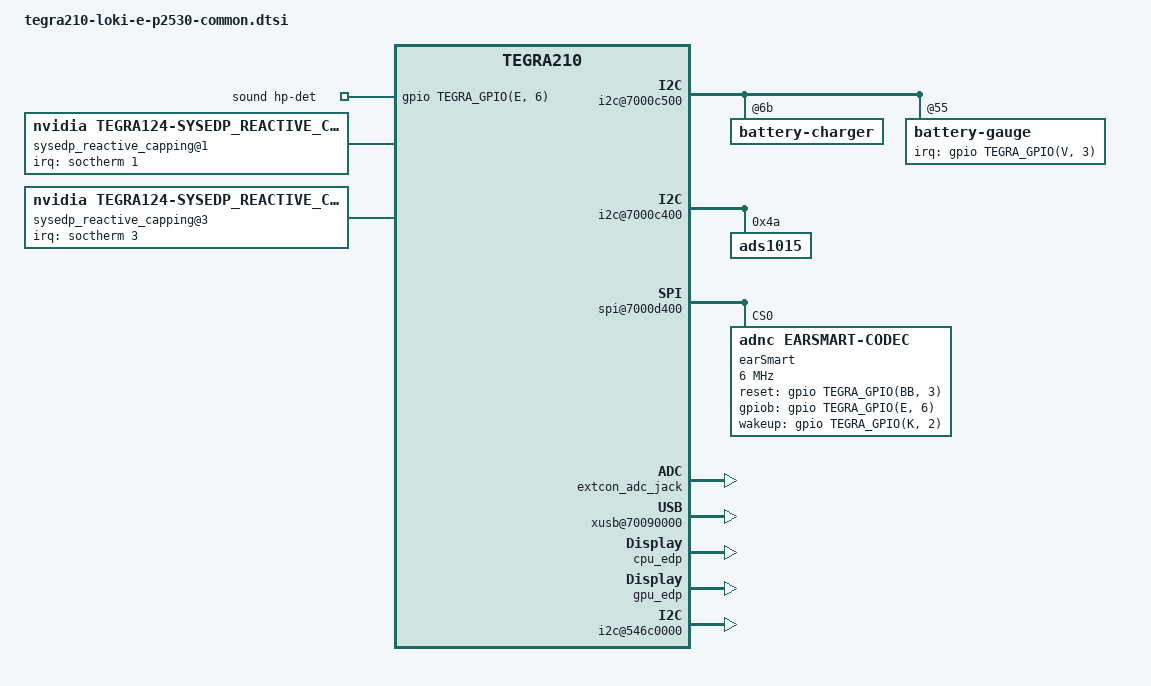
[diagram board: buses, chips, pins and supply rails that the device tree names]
/*
 * arch/arm64/boot/dts/tegra210-loki-e-p2530-common.dtsi
 *
 * Copyright (c) 2015-2016, NVIDIA CORPORATION.  All rights reserved.
 *
 * This program is free software; you can redistribute it and/or modify
 * it under the terms of the GNU General Public License as published by
 * the Free Software Foundation; version 2 of the License.
 *
 * This program is distributed in the hope that it will be useful, but WITHOUT
 * ANY WARRANTY; without even the implied warranty of MERCHANTABILITY or
 * FITNESS FOR A PARTICULAR PURPOSE.  See the GNU General Public License for
 * more details.
 *
 * You should have received a copy of the GNU General Public License along
 * with this program; if not, write to the Free Software Foundation, Inc.,
 * 51 Franklin Street, Fifth Floor, Boston, MA  02110-1301, USA.
 *
 */
#include <dt-bindings/types.h>
/dts-v1/;

/memreserve/ 0x80000000 0x00020000;

#include "tegra210-common.dtsi"
#include "tegra210-platforms/tegra210-sdhci.dtsi"
#include "tegra210-platforms/tegra210-p2530-common.dtsi"
#include "tegra210-platforms/tegra210-loki-e-prods.dtsi"
#include "tegra210-platforms/tegra210-loki-power-tree-p2530-0999-e00.dtsi"
#include "tegra210-platforms/tegra210-loki-e-gpio-p2530-0032-e00.dtsi"
#include "tegra210-platforms/tegra210-pinmux-drive-sdmmc-common.dtsi"
#include "tegra210-platforms/tegra210-loki-e-pinmux-p2530-0032-e00.dtsi"
#include "tegra210-platforms/tegra210-loki-e-comms.dtsi"
#include "tegra210-platforms/tegra210-loki-e-pwm-fan.dtsi"
#include "tegra210-platforms/tegra210-ers-hdmi-e2190-1100-a00.dtsi"
#include "tegra210-platforms/tegra210-ers-touch-e1937-1000-a00.dtsi"
#include "tegra210-platforms/tegra210-loki-e-sensor-p2530-0032-e00.dtsi"
#include "tegra210-platforms/tegra210-loki-e-thermal-fan-est.dtsi"
#include "tegra210-platforms/tegra210-loki-e-camera-p2530-0032-e00.dtsi"
#include "tegra210-platforms/tegra210-loki-e-keys-p2530-0032-e00.dtsi"
#include "tegra210-platforms/tegra210-loki-maxim-charger.dtsi"
#include "tegra210-platforms/tegra210-loki-e-powermon.dtsi"
#include "tegra210-platforms/tegra210-edp.dtsi"
#include "tegra210-platforms/tegra210-sysedp.dtsi"
#include "tegra210-platforms/tegra210-audio.dtsi"
#include "tegra210-platforms/tegra210-loki-e-gamepad-reset.dtsi"
#include "tegra210-platforms/tegra210-loki-e-c2port.dtsi"
#include "tegra210-platforms/tegra210-loki-e-cpufreq.dtsi"

/ {
	compatible = "nvidia,loki-e", "nvidia,tegra210";
	nvidia,fastboot-usb-pid = <0xb420>;

	firmware {
		android {
			compatible = "android,firmware";
			hardware = "loki_e";
		};
	};

	pmc@7000e400 {
		io-pad-defaults {
			audio-hv {
				nvidia,io-pad-init-voltage = <IO_PAD_VOLTAGE_1_8V>;
			};

			spi-hv {
				nvidia,io-pad-init-voltage = <IO_PAD_VOLTAGE_1_8V>;
			};

			gpio {
				nvidia,io-pad-init-voltage = <IO_PAD_VOLTAGE_1_8V>;
			};

			sdmmc1 {
				nvidia,enable-dynamic-pad-voltage;
			};
			sdmmc3 {
				nvidia,enable-dynamic-pad-voltage;
			};
		};
	};

	i2c@7000c500 {
		battery-charger@6b {
			charger {
				dt-override-status-odm-data = <0x00C00000 0x00400000>;
				ti,watchdog-timeout = <160>;
			};
		};

		battery-gauge@55 {
			interrupt-parent = <&gpio>;
			interrupts = <TEGRA_GPIO(V, 3) 0x0>;
			dt-override-status-odm-data = <0x00C00000 0x00400000>;
			ti,full-charge-capacity = <6500>;
		};
	};

	i2c@7000c400 {
		ads1015: ads1015@4a {
			reg = <0x4a>;
			compatible = "ads1015";
			#io-channel-cells = <1>;
		};
	};

	spi@7000d400 {
		status = "okay";
		earSmart: earSmart-codec@0 {
			compatible = "adnc,earSmart-codec";
			reg = <0>;
			spi-max-frequency = <6000000>;
			spi-cpha;

			adnc,reset-gpio = <&gpio TEGRA_GPIO(BB, 3) GPIO_ACTIVE_HIGH>;
			adnc,gpiob-gpio = <&gpio TEGRA_GPIO(E, 6) GPIO_ACTIVE_HIGH>;
			adnc,wakeup-gpio = <&gpio TEGRA_GPIO(K, 2) GPIO_ACTIVE_HIGH>;

			adnc,int-gpio = <(-1)>;
			adnc,gpioa-gpio = <(-1)>;
			adnc,enable_hs_uart_intf = <0>;
			adnc,ext_clk_rate = <0>;
			adnc,debounce_timer = <3>;
			adnc,plug_det_enabled = <1>;
			adnc,mic_det_enabled = <1>;

			adnc,gpio_b_irq_type = <4>;
			adnc,cmd_comp_mode = <0>;

			/* Button Control 1 */
			adnc,btn_press_settling_time = <4>;
			adnc,btn_press_polling_rate = <1>;
			adnc,btn_press_det_act = <1>;

			/* Button Control 2 */
			adnc,double_btn_timer = <(-1)>;
			adnc,mic_det_settling_timer = <(-1)>;

			/* Button Control 3 */
			adnc,long_btn_timer = <(-1)>;
			adnc,adc_btn_mute = <(-1)>;

			/* Button Control 4 */
			adnc,valid_levels = <31>;
			adnc,impd_det_timer = <0>;

			/* FW name */
			adnc,fw_filename = "audience/es755/audience-es755-fw_loki.bin";
			adnc,vs_filename = "audience/es755/audience-es755-vs_loki.bin";
		};
	};

	ahub {
		i2s@702d1100 {
			pinctrl-names = "dap_active", "dap_inactive";
			pinctrl-0 = <>;
			pinctrl-1 = <>;
			regulator-supplies = "vdd-1v8-spi-hv", "vdd-1v8-spi-hv-bias";
			vdd-1v8-spi-hv-supply = <&max77620_sd3>;
			vdd-1v8-spi-hv-bias-supply = <&max77620_sd3>;
			fsync-width = <0>;
		};
	};

	sound {
		compatible = "nvidia,tegra-audio-t210ref-mobile-es755";
		nvidia,model = "tegra-snd-t210ref-mobile-es755";
		nvidia,hp-det-gpios = <&gpio TEGRA_GPIO(E, 6) GPIO_ACTIVE_HIGH>;
		nvidia,num-codec-link = <3>;
		edp-consumer-name = "codec+speaker";

		nvidia,audio-routing =
			"Int Spk",	"SPKRL",
			"Int Spk",	"SPKRR",
			"y Headphone", 	"y OUT",
			"y IN",		"y Mic",
			"z IN",         "z OUT",
			"k Headphone", 	"k OUT",
			"k IN",		"k Mic";

		nvidia,xbar = <&tegra_axbar>;

		nvidia,dai-link-1 {
			link-name = "earSmart-playback";
			cpu-dai = <&tegra_i2s1>;
			codec-dai = <&earSmart>;
			cpu-dai-name = "I2S1";
			codec-dai-name = "earSmart-porta";
			format = "i2s";
			bitclock-slave;
			frame-slave;
			bitclock-noninversion;
			frame-noninversion;
			bit-format = "s16_le";
			bclk_ratio = <0>;
			srate = <48000>;
			num-channel = <2>;
			name-prefix = "x";
		};
		nvidia,dai-link-2 {
			link-name = "spdif-dit-1";
			cpu-dai = <&tegra_i2s2>;
			codec-dai = <&spdif_dit1>;
			cpu-dai-name = "I2S2";
			codec-dai-name = "dit-hifi";
			format = "dsp_a";
			bitclock-slave;
			frame-slave;
			bitclock-inversion;
			frame-inversion;
			bit-format = "s16_le";
			bclk_ratio = <4>;
			srate = <8000>;
			num-channel = <1>;
			name-prefix = "y";
		};
		nvidia,dai-link-3 {
			link-name = "spdif-dit-2";
			cpu-dai = <&tegra_i2s3>;
			codec-dai = <&spdif_dit2>;
			cpu-dai-name = "I2S3";
			codec-dai-name = "dit-hifi";
			format = "i2s";
			bitclock-slave;
			frame-slave;
			bitclock-noninversion;
			frame-noninversion;
			bit-format = "s16_le";
			bclk_ratio = <0>;
			srate = <48000>;
			num-channel = <2>;
			name-prefix = "z";
		};
                nvidia,dai-link-4 {
                        link-name = "spdif-dit-3";
                        cpu-dai = <&tegra_i2s4>;
                        codec-dai = <&spdif_dit3>;
                        cpu-dai-name = "I2S4";
                        codec-dai-name = "dit-hifi";
                        format = "i2s";
                        bitclock-slave;
                        frame-slave;
                        bitclock-noninversion;
                        frame-noninversion;
                        bit-format = "s16_le";
                        bclk_ratio = <0>;
                        srate = <48000>;
                        num-channel = <2>;
                        name-prefix = "k";
                };
	};

	adsp_audio {
		compr-ops = <1>;
		num-plugin = <5>;
		plugin-info-1 {
			plugin-name = "mp3-dec1";
			firmware-name = "nvmp3dec.elf";
			widget-name = "MP3-DEC1";
		};
		plugin-info-2 {
			plugin-name = "spkprot";
			firmware-name = "nvspkprot.elf";
			widget-name = "SPKPROT-SW";
		};
		plugin-info-3 {
			plugin-name = "src";
			firmware-name = "nvsrc.elf";
			widget-name = "SRC";
		};
		plugin-info-4 {
			plugin-name = "aac-dec1";
			firmware-name = "nvaacdec.elf";
			widget-name = "AAC-DEC1";
		};
		plugin-info-5 {
			plugin-name = "aec";
			firmware-name = "libnvaecfx.elf";
			widget-name = "AEC";
			param-type = <2>; /* SNDRV_CTL_ELEM_TYPE_INTEGER */
		};
	};

	extcon {
		extcon@0 {
			status = "disabled";
		};

		extcon_adc_jack: extcon@1 {
			compatible = "extcon-adc-jack";
			reg = <0x1>;
			interrupt-parent = <&max77620>;
			interrupts = <0 0 3>;
			extcon-adc-jack,irq-flags = <3>;
			extcon-adc-jack,cable-names = "ID-GND", "ID-NV", "ID-RA", "ID-RB", "ID-RC";
			extcon-adc-jack,states = <0x1	0	21
						0x2	54	85
						0x4	354	458
						0x8	204	271
						0x10	113	153>;
			io-channels = <&ads1015 4>;
			io-channel-names = "id-resistance";
			#extcon-cells = <1>;
		};

		extcon_cable_xlate: extcon@2 {
			compatible = "extcon-cable-xlate";
			reg = <0x2>;
			extcon-name = "cable-xlate";
			cable-insert-delay = <500>;
			output-cable-names = "USB", "USB-Host", "ACA-NV", "Y-Cable", "ACA-A", "ACA-B", "ACA-C";
					extcon-cables = <&bq2419x 0 &extcon_adc_jack 0 &extcon_adc_jack 1 &extcon_adc_jack 2 &extcon_adc_jack 3 &extcon_adc_jack 4>;
			extcon-cable-names = "vbus", "id", "aca-nv", "aca-ra", "aca-rb", "aca-rc";
			cable-states = <0x0	0x3F	0x0
					0x1	0x3F	0x1
					0x2	0x3F	0x2
					0x4	0x3F	0x4
					0x5	0x3F	0x4
					0x3	0x3F	0x8
					0x8	0x3F	0x10
					0x10	0x3F	0x20
					0x20	0x3F	0x40>;
			#extcon-cells = <1>;
		};
	};

	udc@7d000000 {
		nvidia,port-otg;
		nvidia,charging-supported;
		nvidia,enable-pmu-vbus-detection;
		nvidia,turn-off-vbus-in-lp0;
		nvidia,enable-aca-rid-detection;
		nvidia,id-detection-type = <1>;
		nvidia,enable-aca-nv-charger-detection;
		nvidia,dcp-current-limit-ua = <2000000>;
		nvidia,qc2-input-voltage = <TEGRA_USB_QC2_12V>;
		nvidia,qc2-current-limit-ua = <1300000>;
		extcon-cables = <&extcon_cable_xlate 0 &extcon_cable_xlate 2 &extcon_cable_xlate 5 &extcon_cable_xlate 6>;
		extcon-cable-names = "vbus", "aca-nv", "aca-rb", "aca-rc";
		#extcon-cells = <1>;
		status = "disabled";
		dt-override-status-odm-data = <0x01000000 0x00000000>;
	};

	usb_cd@7009f000 {
		nvidia,dcp-current-limit-ma = <2000>;
	};

	otg@7d000000 {
		nvidia,enable-pmu-vbus-detection;
		nvidia,id-detection-type = <1>;
		nvidia,enable-aca-nv-charger-detection;
		nvidia,enable-aca-rid-detection;
		nvidia,enable-y-cable-detection;
		extcon-cables = <&extcon_cable_xlate 0 &extcon_cable_xlate 1 &extcon_cable_xlate 2 &extcon_cable_xlate 3 &extcon_cable_xlate 4 &extcon_cable_xlate 5 &extcon_cable_xlate 6>;
		extcon-cable-names = "vbus", "id", "aca-nv", "y-cable", "aca-ra", "aca-rb", "aca-rc";
		#extcon-cells = <1>;
		status = "disabled";
		dt-override-status-odm-data = <0x01000000 0x00000000>;
	};

	psy_extcon {
		status = "okay";
	};

	chosen {
		nvidia,tegra-shield-sku;
        };

	camera-pcl {
		profiles {
			ov7695@6_0021 {
				use_of_node = "yes";
				vana-supply = <&max77620_ldo3>;
				vif2-supply = <&en_vdd_cam>;
				cam1-gpio = <&gpio TEGRA_GPIO(S, 7) 0>;
			};
		};
	};

	/* Put common control config here */
	xusb_pad_ctl: xusb_padctl {
		status = "disabled";
		nvidia,ss_ports = < TEGRA_XHCI_SS_P0 TEGRA_XHCI_USB2_P0 TEGRA_XHCI_UNUSED_LANE TEGRA_XHCI_PORT_STD
				    TEGRA_XHCI_SS_P1 TEGRA_XHCI_UNUSED_PORT TEGRA_XHCI_UNUSED_LANE TEGRA_XHCI_PORT_STD
				    TEGRA_XHCI_SS_P2 TEGRA_XHCI_UNUSED_PORT TEGRA_XHCI_UNUSED_LANE TEGRA_XHCI_PORT_STD
				    TEGRA_XHCI_SS_P3 TEGRA_XHCI_UNUSED_PORT TEGRA_XHCI_UNUSED_LANE TEGRA_XHCI_PORT_STD >;
	};

	xusb@70090000 {
		/* nvidia,uses_external_pmic;
		/* nvidia,gpio_controls_muxed_ss_lanes; */
		nvidia,gpio_ss1_sata = <0>;
		nvidia,ulpicap = <0>; /* No ulpi support. can we remove */
		nvidia,portmap = <0x0400>;
		nvidia,common_padctl = <&xusb_pad_ctl>;
		status = "okay";
	};

	 xudc@700d0000 {
				nvidia,common_padctl = <&xusb_pad_ctl>;
		extcon-cables = <&extcon_cable_xlate 0>;
		extcon-cable-names = "vbus";
				#extcon-cells = <1>;
				status = "disabled";
		dt-override-status-odm-data = <0x01000000 0x01000000>;
		};

	xotg {
		extcon-cables = <&extcon_cable_xlate 1>;
		extcon-cable-names = "id";
		#extcon-cells = <1>;
		nvidia,common_padctl = <&xusb_pad_ctl>;
		status = "disabled";
		dt-override-status-odm-data = <0x01000000 0x01000000>;
	};

	gpu-dvfs-rework {
		status = "disabled";
	};


	sysedp_batmon_calc {
		compatible = "nvidia,tegra124-sysedp_batmon_calc";
		power_supply = "battery";
		update_interval = <30000>;
		ocv_lut = <
			100 4150000
			60 3710000
			30 3550000
			0 3330000
		>;
		ibat_lut = <
			600 15600
			400 15600
			0 15600
			S32_TO_U32(-300) 0
		>;
			/* 500 dC  250 dC   0 dC */
		rbat_data = <
			89000 70000 115000 /* 100% */
			89000 70000 115000 /* 0% */
		>;
		temp_axis = <500 250 0>;
		capacity_axis = <100 0>;
		r_const = <23000>;
		vsys_min = <2600000>;
	};

	sysedp {
		compatible = "nvidia,tegra124-sysedp";
		nvidia,margin = <0>;
		nvidia,min_budget = <0>;
		nvidia,initial_budget = <25000>;

		consumers {
			consumer1 {
				nvidia,consumer_name = "ov7695";
				nvidia,states = <0 124>;
			};
			consumer2 {
				nvidia,consumer_name = "primary-wifi";
				nvidia,states = <0 2345>;
			};
			consumer3 {
				nvidia,consumer_name = "secondary-wifi";
				nvidia,states = <0 1170>;
			};
			/*eMMC*/
			consumer4 {
				nvidia,consumer_name = "sdhci-tegra.3";
				nvidia,states = <0 1785>;
			};
			consumer5 {
				nvidia,consumer_name = "dsi_0";
				nvidia,states = <0 616>;
			};
			consumer6 {
				nvidia,consumer_name = "dsi_1";
				nvidia,states = <0 616>;
			};
			consumer7 {
				nvidia,consumer_name = "codec+speaker";
				nvidia,states = <0 1270>;
			};
			consumer8 {
				nvidia,consumer_name = "pwm-backlight";
				nvidia,states = <0 127 255 382 510 638 765 893 1020 1148 1276>;
			};
			/*SD Card */
			consumer9 {
				nvidia,consumer_name = "sdhci-tegra.0";
				nvidia,states = <0 1785>;
			};
			consumer10 {
				nvidia,consumer_name = "shieldled";
				nvidia,states = <0 40 79 119 159 198 238 278 317 357 397>;
			};
		};
	};

	bcmdhd_wlan {
		edp-consumer-name = "primary-wifi";
	};

	bcm4329_wlan2_ {
		edp-consumer-name = "secondary-wifi";
	};

	gpio: gpio@6000d000 {
		uart_over_jack {
			status = "disabled";
			gpio-output-high = <TEGRA_GPIO(DD, 0)>;
			dt-override-status-odm-data = <0x80000000 0x80000000>;
		};
	};
	sysedp_reactive_capping@1 {
		compatible = "nvidia,tegra124-sysedp_reactive_capping";
		nvidia,max_capping_mw = <15000>;
		nvidia,step_alarm_mw = <1000>;
		nvidia,step_relax_mw = <500>;
		nvidia,relax_ms = <250>;
		interrupt-parent = <&soctherm>;
		interrupts = <1 0x2002>;
			sysedpc {
				nvidia,name = "voltmon_oc1";
			};
	};
	sysedp_reactive_capping@3 {
		compatible = "nvidia,tegra124-sysedp_reactive_capping";
		nvidia,max_capping_mw = <15000>;
		nvidia,step_alarm_mw = <1000>;
		nvidia,step_relax_mw = <500>;
		nvidia,relax_ms = <250>;
		interrupt-parent = <&soctherm>;
		interrupts = <3 0x2002>;
			sysedpc {
				nvidia,name = "batmon_oc3";
			};
	};

	cpu_edp {
		status = "okay";
		nvidia,edp_limit = <25000>;
	};

	gpu_edp {
		status = "okay";
		nvidia,edp_limit = <25000>;
	};

	camera-pcl {
		dpd {
			default-enable;
		};
	};

	sysedp-dynamic-capping {
		compatible = "nvidia,tegra124-sysedp-dynamic-capping";
		nvidia,throttle_depth = <75>;
		nvidia,cap_method = <3>;
	};

	bcmdhd_wlan {
		fw_path = "/system/vendor/firmware/fw_bcmdhd.bin";
		nv_path = "/system/etc/nvram_loki_e_4354.txt";
		tuned_nv_path = "system/etc/nvram_loki_e_antenna_tuned_4354.txt";
		country_code_map {
			CC1 {
				iso_abbrev = "XV";
				custom_locale = "XV";
				custom_locale_rev = <998>;
			};
			CC2 {
				iso_abbrev = "US";
				custom_locale = "Q2";
				custom_locale_rev = <113>;
			};
			CC3 {
				iso_abbrev = "CA";
				custom_locale = "Q2";
				custom_locale_rev = <113>;
			};
			CC4 {
				iso_abbrev = "AT";
				custom_locale = "E0";
				custom_locale_rev = <53>;
			};
			CC5 {
				iso_abbrev = "BE";
				custom_locale = "E0";
				custom_locale_rev = <53>;
			};
			CC6 {
				iso_abbrev = "BG";
				custom_locale = "E0";
				custom_locale_rev = <53>;
			};
			CC7 {
				iso_abbrev = "HR";
				custom_locale = "E0";
				custom_locale_rev = <53>;
			};
			CC8 {
				iso_abbrev = "CZ";
				custom_locale = "E0";
				custom_locale_rev = <53>;
			};
			CC9 {
				iso_abbrev = "DK";
				custom_locale = "E0";
				custom_locale_rev = <53>;
			};
			CC10 {
				iso_abbrev = "FR";
				custom_locale = "E0";
				custom_locale_rev = <53>;
			};
			CC11 {
				iso_abbrev = "DE";
				custom_locale = "E0";
				custom_locale_rev = <53>;
			};
			CC12 {
				iso_abbrev = "GR";
				custom_locale = "E0";
				custom_locale_rev = <53>;
			};
			CC13 {
				iso_abbrev = "HU";
				custom_locale = "E0";
				custom_locale_rev = <53>;
			};
			CC14 {
				iso_abbrev = "IT";
				custom_locale = "E0";
				custom_locale_rev = <53>;
			};
			CC15 {
				iso_abbrev = "NL";
				custom_locale = "E0";
				custom_locale_rev = <53>;
			};
			CC16 {
				iso_abbrev = "NO";
				custom_locale = "E0";
				custom_locale_rev = <53>;
			};
			CC17 {
				iso_abbrev = "PL";
				custom_locale = "E0";
				custom_locale_rev = <53>;
			};
			CC18 {
				iso_abbrev = "PT";
				custom_locale = "E0";
				custom_locale_rev = <53>;
			};
			CC19 {
				iso_abbrev = "RO";
				custom_locale = "E0";
				custom_locale_rev = <53>;
			};
			CC20 {
				iso_abbrev = "SK";
				custom_locale = "E0";
				custom_locale_rev = <53>;
			};
			CC21 {
				iso_abbrev = "ES";
				custom_locale = "E0";
				custom_locale_rev = <53>;
			};
			CC22 {
				iso_abbrev = "SE";
				custom_locale = "E0";
				custom_locale_rev = <53>;
			};
			CC23 {
				iso_abbrev = "CH";
				custom_locale = "E0";
				custom_locale_rev = <53>;
			};
			CC24 {
				iso_abbrev = "GB";
				custom_locale = "E0";
				custom_locale_rev = <53>;
			};
			CC25 {
				iso_abbrev = "EU";
				custom_locale = "E0";
				custom_locale_rev = <53>;
			};
			CC26 {
				iso_abbrev = "E0";
				custom_locale = "E0";
				custom_locale_rev = <53>;
			};
			CC27 {
				iso_abbrev = "IN";
				custom_locale = "Q2";
				custom_locale_rev = <113>;
			};
		};
	};

	rollback-protection {
		status = "okay";
	};

	usb_nvshield_led {
		status = "okay";
		edp-consumer-name = "shieldled";
		disable-on-kernel-charging;
	};

	serial@70006300 {
		dma-names = "tx";
	};

	host1x {
		i2c@546c0000 {
			avdd_dsi_csi-supply = <&max77620_gpio7>;
			status = "okay";
		};
	};
};
